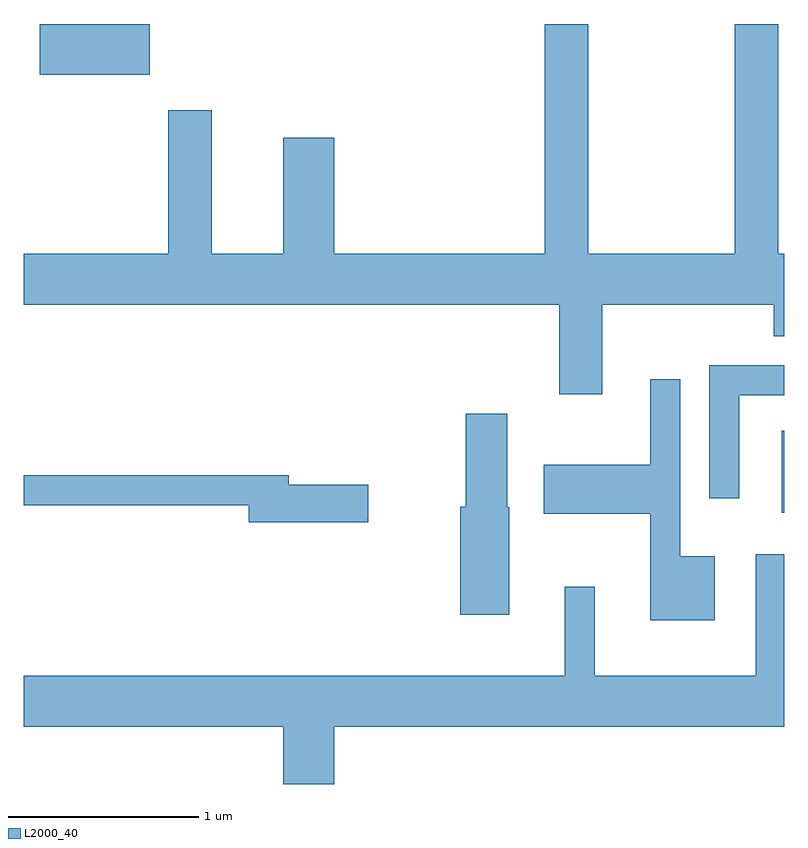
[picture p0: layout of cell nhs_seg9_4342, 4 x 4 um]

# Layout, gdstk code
import gdstk
lib = gdstk.Library(unit=1e-6, precision=1e-09)
def R(c, l, rs):  # rectangles x0, y0, x1, y1
    for r in rs: c.add(gdstk.rectangle(r[:2], r[2:], *l))
def P(c, l, *ps):  # polygons
    for p in ps: c.add(gdstk.Polygon(p, *l))
L2000_40 = (2000, 40)

nhs_seg9_4342 = lib.new_cell('nhs_seg9_4342')
R(nhs_seg9_4342, L2000_40, [(317.596,1961.861,317.611,1962.294), (313.696,1964.166,314.274,1964.432)])
P(nhs_seg9_4342, L2000_40, [(316.654,1962.956),(317.556,1962.956),(317.556,1962.791),(317.611,1962.791),(317.611,1963.224),(317.579,1963.224),(317.579,1964.432),(317.351,1964.432),(317.351,1963.224),(316.579,1963.224),(316.579,1964.432),(316.351,1964.432),(316.351,1963.224),(315.244,1963.224),(315.244,1963.834),(314.976,1963.834),(314.976,1963.224),(314.599,1963.224),(314.599,1963.979),(314.371,1963.979),(314.371,1963.224),(313.611,1963.224),(313.611,1962.956),(316.426,1962.956),(316.426,1962.486),(316.654,1962.486)],
  [(317.374,1962.481),(317.611,1962.481),(317.611,1962.639),(317.216,1962.639),(317.216,1961.938),(317.374,1961.938)],
  [(317.244,1961.634),(317.064,1961.634),(317.064,1962.563),(316.906,1962.563),(316.906,1962.114),(316.346,1962.114),(316.346,1961.856),(316.906,1961.856),(316.906,1961.296),(317.244,1961.296)],
  [(316.164,1961.89),(316.154,1961.89),(316.154,1962.384),(315.936,1962.384),(315.936,1961.894),(315.906,1961.894),(315.906,1961.326),(316.164,1961.326)],
  [(315.424,1962.009),(315.004,1962.009),(315.004,1962.059),(313.611,1962.059),(313.611,1961.901),(314.796,1961.901),(314.796,1961.811),(315.424,1961.811)],
  [(315.244,1960.736),(317.611,1960.736),(317.611,1961.643),(317.461,1961.643),(317.461,1961.004),(316.614,1961.004),(316.614,1961.473),(316.456,1961.473),(316.456,1961.004),(313.611,1961.004),(313.611,1960.736),(314.976,1960.736),(314.976,1960.436),(315.244,1960.436)])

lib.write_gds('nhs_seg9_4342.gds')
